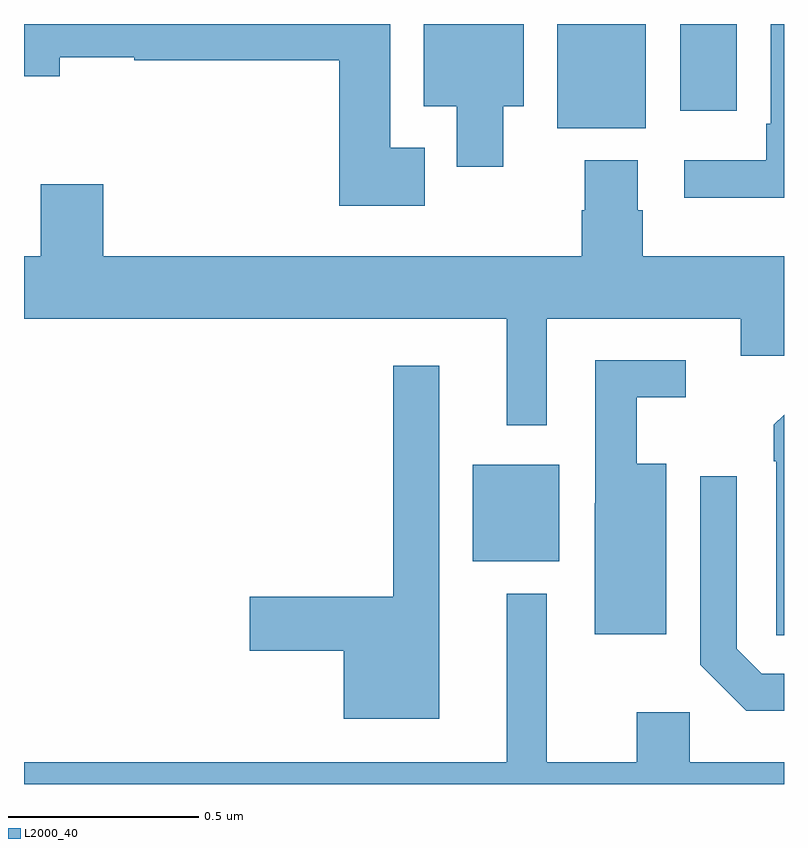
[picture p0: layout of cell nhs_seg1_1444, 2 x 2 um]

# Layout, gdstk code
import gdstk
lib = gdstk.Library(unit=1e-6, precision=1e-09)
def R(c, l, rs):  # rectangles x0, y0, x1, y1
    for r in rs: c.add(gdstk.rectangle(r[:2], r[2:], *l))
def P(c, l, *ps):  # polygons
    for p in ps: c.add(gdstk.Polygon(p, *l))
L2000_40 = (2000, 40)

nhs_seg1_1444 = lib.new_cell('nhs_seg1_1444')
R(nhs_seg1_1444, L2000_40, [(130.181,525.785,130.408,526.039), (130.403,526.925,130.636,527.199), (130.727,526.971,130.876,527.199)])
P(nhs_seg1_1444, L2000_40, [(130.054,526.873),(129.964,526.873),(129.964,527.199),(129,527.199),(129,527.062),(129.094,527.062),(129.094,527.112),(129.29,527.112),(129.29,527.104),(129.83,527.104),(129.83,526.721),(130.054,526.721)],
  [(131,527.199),(130.965,527.199),(130.965,526.936),(130.953,526.936),(130.953,526.84),(130.737,526.84),(130.737,526.742),(131,526.742)],
  [(130.261,526.982),(130.315,526.982),(130.315,527.199),(130.052,527.199),(130.052,526.982),(130.139,526.982),(130.139,526.824),(130.261,526.824)],
  [(130.375,526.424),(130.886,526.424),(130.886,526.326),(131,526.326),(131,526.588),(130.628,526.588),(130.628,526.709),(130.615,526.709),(130.615,526.84),(130.475,526.84),(130.475,526.709),(130.468,526.709),(130.468,526.588),(129.208,526.588),(129.208,526.777),(129.044,526.777),(129.044,526.588),(129,526.588),(129,526.424),(130.271,526.424),(130.271,526.143),(130.375,526.143)],
  [(130.69,526.042),(130.612,526.042),(130.612,526.217),(130.741,526.217),(130.741,526.314),(130.503,526.314),(130.503,525.938),(130.502,525.938),(130.502,525.593),(130.69,525.593)],
  [(130.093,526.3),(129.972,526.3),(129.972,525.692),(129.594,525.692),(129.594,525.55),(129.842,525.55),(129.842,525.371),(130.093,525.371)],
  [(131,526.171),(130.973,526.144),(130.973,526.049),(130.98,526.049),(130.98,525.591),(131,525.591)],
  [(131,525.489),(130.941,525.489),(130.875,525.555),(130.875,526.009),(130.779,526.009),(130.779,525.513),(130.9,525.392),(131,525.392)],
  [(131,525.256),(130.752,525.256),(130.752,525.388),(130.613,525.388),(130.613,525.256),(130.375,525.256),(130.375,525.7),(130.271,525.7),(130.271,525.256),(129,525.256),(129,525.199),(131,525.199)])

lib.write_gds('nhs_seg1_1444.gds')
